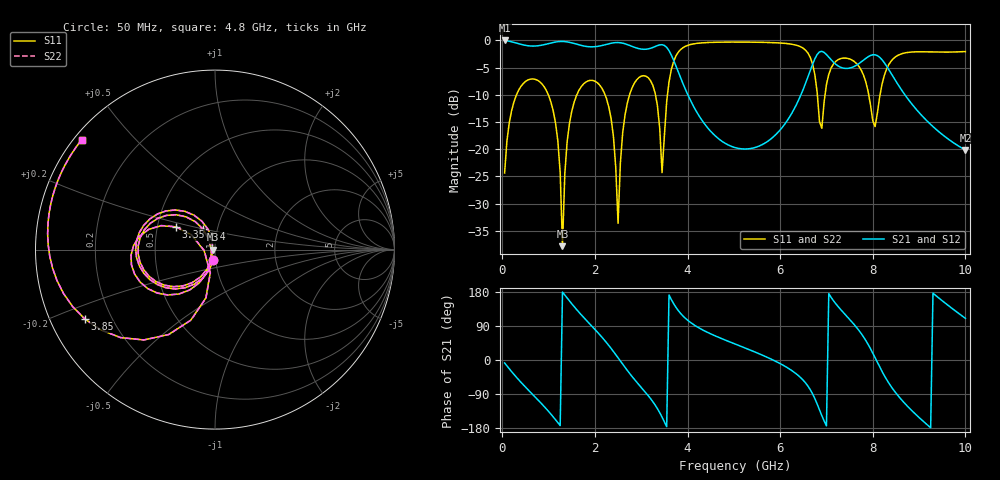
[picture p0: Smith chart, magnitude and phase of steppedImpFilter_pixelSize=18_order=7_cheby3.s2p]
! freq	dB(S11)	phase(S11)	dB(S12)	phase(S12)
!  dB(S21)	phase(S21)	dB(S22)	phase(S22)
!S-par simulation data
#  GHz  S  DB  R 50
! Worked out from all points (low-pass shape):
!   200 points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, 50 MHz to 10 GHz, reference 50 ohm
!   highest |S21| = -0.03 dB at 50 MHz (marker M1); lowest = -20.2 dB at 10 GHz (marker M2)
!   |S21| within 3 dB of the highest: start of sweep to 3.667 GHz; 6.773 GHz to 7.043 GHz (270.1 MHz wide, 3.91 % of centre) (the widest 2 of 3)
!   lowest |S11| = -37.8 dB at 1.3 GHz (marker M3), VSWR 1.03, Z = 48.7 + j0.0518 ohm
!   |S11| at or under -10 dB: start of sweep to 307.1 MHz; 993.7 MHz to 1.61 GHz (616.5 MHz wide, 47.3 % of centre); 2.218 GHz to 2.748 GHz (529.9 MHz wide, 21.3 % of centre) (the widest 3 of 6)
!   |S22| runs from -37.7 to -0.3 dB; largest |S21 - S12| = 0
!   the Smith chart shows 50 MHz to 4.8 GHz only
!   S11 on the Smith chart (normalised r, x): 50 MHz: 0.98, -0.12; 2.4 GHz: 0.86, +0.20; 3.35 GHz: 0.63, +0.17; 3.85 GHz: 0.10, -0.25; 4.8 GHz: 0.02, +0.36
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0.05  -24.35 -98.1  -0.03 -7.8  -0.03 -7.8  -24.35 -98.1
0.9  -8.48 148.2  -0.81 -122.1  -0.81 -122.1  -8.48 148.2
1.2  -18.51 108.7  -0.26 -165.3  -0.26 -165.3  -18.51 108.8
1.3  -37.80 177.6  -0.21 179.1  -0.21 179.1  -37.70 177.5
1.45  -15.29 -117.8  -0.37 155.9  -0.37 155.9  -15.29 -117.9
1.75  -8.05 -157.8  -1.03 113.3  -1.03 113.3  -8.05 -157.9
2.4  -17.65 120.2  -0.47 22.4  -0.47 22.4  -17.65 120.1
2.5  -33.60 -166.0  -0.42 5.8  -0.42 5.8  -33.64 -166.1
2.75  -9.93 -129.1  -0.94 -35.5  -0.94 -35.5  -9.93 -129.1
3.35  -11.98 149.9  -0.97 -128.5  -0.97 -128.5  -11.99 149.6
3.4  -16.20 148.1  -0.84 -139.1  -0.84 -139.1  -16.22 147.7
3.85  -1.70 -152.0  -6.87 123.0  -6.87 123.0  -1.70 -152.0
4.8  -0.33 140.5  -18.85 53.2  -18.85 53.2  -0.33 140.5
5.05  -0.32 128.6  -19.75 41.0  -19.75 41.0  -0.32 128.6
6.1  -0.56 74.9  -15.38 -16.3  -15.38 -16.3  -0.56 74.8
6.7  -4.36 12.9  -4.42 -89.3  -4.42 -89.3  -4.36 12.8
7  -8.11 81.8  -2.62 -173.7  -2.62 -173.7  -8.11 81.8
7.7  -4.78 -2.5  -4.29 78.2  -4.29 78.2  -4.78 -2.6
8.05  -15.85 15.1  -2.66 6.2  -2.66 6.2  -15.84 15.0
8.35  -4.40 17.7  -5.44 -61.5  -5.44 -61.5  -4.39 17.7
9.15  -2.12 -84.9  -14.62 -168.2  -14.62 -168.2  -2.12 -84.9
10  -2.07 -177.0  -20.16 109.9  -20.16 109.9  -2.06 -177.0
